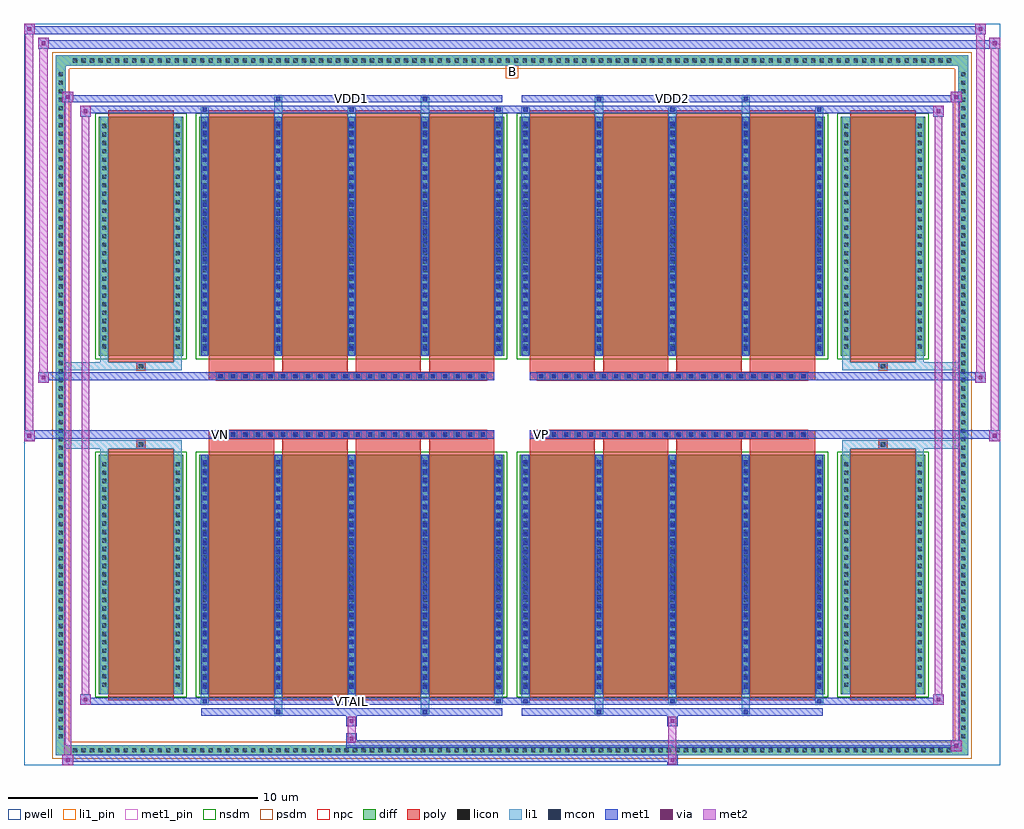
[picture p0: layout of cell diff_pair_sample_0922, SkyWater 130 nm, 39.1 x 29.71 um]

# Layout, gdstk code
import gdstk
lib = gdstk.Library(unit=1e-6, precision=5e-09)
def R(c, l, rs):  # rectangles x0, y0, x1, y1
    for r in rs: c.add(gdstk.rectangle(r[:2], r[2:], *l))
def A(c, l, x, y, w, h, nx, ny, dx, dy):  # array of equal rectangles
    R(c, l, [(x+i*dx, y+j*dy, x+i*dx+w, y+j*dy+h) for i in range(nx) for j in range(ny)])
def P(c, l, *ps):  # polygons
    for p in ps: c.add(gdstk.Polygon(p, *l))
pwell = (64, 44)
diff = (65, 20)
poly = (66, 20)
licon = (66, 44)
li1_pin = (67, 16)
li1 = (67, 20)
mcon = (67, 44)
met1_pin = (68, 16)
met1 = (68, 20)
via = (68, 44)
met2 = (69, 20)
nsdm = (93, 44)
psdm = (94, 20)
npc = (95, 20)

diff_pair_sample_0922 = lib.new_cell('diff_pair_sample_0922')
R(diff_pair_sample_0922, pwell, [(-19.55,-14.42,19.55,15.29), (-16.87,-12.61,-0.01,-0.805), (0.01,-12.61,16.87,-0.805), (-16.87,0.805,-0.01,12.61), (0.01,0.805,16.87,12.61)])
A(diff_pair_sample_0922, diff, -17.715, -14.02, 0.41, 0.41, 104, 2, 0.34, 27.63)
A(diff_pair_sample_0922, diff, -18.28, -13.465, 0.41, 0.41, 1, 79, 0, 0.34)
A(diff_pair_sample_0922, diff, 17.87, -13.465, 0.41, 0.41, 1, 79, 0, 0.34)
R(diff_pair_sample_0922, diff, [(-17.715,-14.02,17.715,-13.61), (-18.28,-13.465,-17.87,13.465), (17.87,-13.465,18.28,13.465), (-16.56,-11.565,-13.17,-1.985), (-12.53,-11.565,-0.32,-1.985), (0.32,-11.565,12.53,-1.985), (13.17,-11.565,16.56,-1.985), (-16.56,1.985,-13.17,11.565), (-12.53,1.985,-0.32,11.565), (0.32,1.985,12.53,11.565), (13.17,1.985,16.56,11.565), (-17.715,13.61,17.715,14.02)])
P(diff_pair_sample_0922, diff, [(18.28,14.02),(-18.28,14.02),(-18.28,-13.61),(-17.87,-13.61),(-17.87,13.61),(17.87,13.61),(17.87,-13.61),(-17.87,-13.61),(-18.28,-13.61),(-18.28,-14.02),(18.28,-14.02)])
A(diff_pair_sample_0922, poly, -12.14, -11.815, 2.61, 10.08, 4, 2, 2.94, 13.55)
A(diff_pair_sample_0922, poly, 0.71, -11.815, 2.61, 10.08, 4, 2, 2.94, 13.55)
A(diff_pair_sample_0922, poly, -12.14, -1.735, 2.61, 0.4, 4, 2, 2.94, 3.07)
A(diff_pair_sample_0922, poly, 0.71, -1.735, 2.61, 0.4, 4, 2, 2.94, 3.07)
A(diff_pair_sample_0922, poly, -11.84, -1.335, 0.33, 0.33, 22, 2, 0.5, 2.34)
A(diff_pair_sample_0922, poly, 1.01, -1.335, 0.33, 0.33, 22, 2, 0.5, 2.34)
R(diff_pair_sample_0922, poly, [(-16.17,-11.815,-13.56,-1.735), (13.56,-11.815,16.17,-1.735), (-15.03,-1.735,-14.7,-1.405), (-15.03,-1.735,-14.7,-1.405), (14.7,-1.735,15.03,-1.405), (14.7,-1.735,15.03,-1.405), (-12.14,-1.335,-0.71,-1.005), (0.71,-1.335,12.14,-1.005), (-12.14,1.005,-0.71,1.335), (0.71,1.005,12.14,1.335), (-15.03,1.405,-14.7,1.735), (-15.03,1.405,-14.7,1.735), (14.7,1.405,15.03,1.735), (14.7,1.405,15.03,1.735), (-16.17,1.735,-13.56,11.815), (13.56,1.735,16.17,11.815)])
A(diff_pair_sample_0922, licon, -17.595, -13.9, 0.17, 0.17, 104, 2, 0.34, 27.63)
A(diff_pair_sample_0922, licon, -18.16, -13.345, 0.17, 0.17, 1, 79, 0, 0.34)
A(diff_pair_sample_0922, licon, 17.99, -13.345, 0.17, 0.17, 1, 79, 0, 0.34)
A(diff_pair_sample_0922, licon, -16.42, -11.28, 0.17, 0.17, 1, 27, 0, 0.34)
A(diff_pair_sample_0922, licon, -13.48, -11.28, 0.17, 0.17, 1, 27, 0, 0.34)
A(diff_pair_sample_0922, licon, -12.39, -11.28, 0.17, 0.17, 5, 27, 2.94, 0.34)
A(diff_pair_sample_0922, licon, 0.46, -11.28, 0.17, 0.17, 5, 27, 2.94, 0.34)
A(diff_pair_sample_0922, licon, 13.31, -11.28, 0.17, 0.17, 1, 27, 0, 0.34)
A(diff_pair_sample_0922, licon, 16.25, -11.28, 0.17, 0.17, 1, 27, 0, 0.34)
A(diff_pair_sample_0922, licon, -11.76, -1.255, 0.17, 0.17, 22, 2, 0.5, 2.34)
A(diff_pair_sample_0922, licon, 1.09, -1.255, 0.17, 0.17, 22, 2, 0.5, 2.34)
A(diff_pair_sample_0922, licon, -16.42, 2.27, 0.17, 0.17, 1, 27, 0, 0.34)
A(diff_pair_sample_0922, licon, -13.48, 2.27, 0.17, 0.17, 1, 27, 0, 0.34)
A(diff_pair_sample_0922, licon, -12.39, 2.27, 0.17, 0.17, 5, 27, 2.94, 0.34)
A(diff_pair_sample_0922, licon, 0.46, 2.27, 0.17, 0.17, 5, 27, 2.94, 0.34)
A(diff_pair_sample_0922, licon, 13.31, 2.27, 0.17, 0.17, 1, 27, 0, 0.34)
A(diff_pair_sample_0922, licon, 16.25, 2.27, 0.17, 0.17, 1, 27, 0, 0.34)
R(diff_pair_sample_0922, licon, [(-14.95,-1.655,-14.78,-1.485), (14.78,-1.655,14.95,-1.485), (-14.95,1.485,-14.78,1.655), (14.78,1.485,14.95,1.655)])
R(diff_pair_sample_0922, li1_pin, [(-0.25,13.11,0.25,13.61)])
A(diff_pair_sample_0922, li1, -17.675, -13.98, 0.33, 0.33, 104, 2, 0.34, 27.63)
A(diff_pair_sample_0922, li1, -18.24, -13.425, 0.33, 0.33, 1, 79, 0, 0.34)
A(diff_pair_sample_0922, li1, 17.91, -13.425, 0.33, 0.33, 1, 79, 0, 0.34)
A(diff_pair_sample_0922, li1, -12.47, -11.94, 0.33, 0.375, 3, 2, 5.88, 23.505)
A(diff_pair_sample_0922, li1, -12.39, -11.94, 0.17, 0.17, 3, 2, 5.88, 23.71)
A(diff_pair_sample_0922, li1, 0.38, -11.94, 0.33, 0.375, 3, 2, 5.88, 23.505)
A(diff_pair_sample_0922, li1, 0.46, -11.94, 0.17, 0.17, 3, 2, 5.88, 23.71)
A(diff_pair_sample_0922, li1, -12.47, -11.565, 0.33, 9.58, 5, 2, 2.94, 13.55)
A(diff_pair_sample_0922, li1, 0.38, -11.565, 0.33, 9.58, 5, 2, 2.94, 13.55)
A(diff_pair_sample_0922, li1, -16.5, -11.36, 0.33, 0.33, 1, 27, 0, 0.34)
A(diff_pair_sample_0922, li1, -13.56, -11.36, 0.33, 0.33, 1, 27, 0, 0.34)
A(diff_pair_sample_0922, li1, -12.47, -11.36, 0.33, 0.33, 5, 27, 2.94, 0.34)
A(diff_pair_sample_0922, li1, -12.39, -11.36, 0.17, 0.17, 5, 26, 2.94, 0.36)
A(diff_pair_sample_0922, li1, -12.39, -11.36, 0.17, 9.17, 5, 2, 2.94, 13.55)
A(diff_pair_sample_0922, li1, 0.38, -11.36, 0.33, 0.33, 5, 27, 2.94, 0.34)
A(diff_pair_sample_0922, li1, 0.46, -11.36, 0.17, 0.17, 5, 26, 2.94, 0.36)
A(diff_pair_sample_0922, li1, 0.46, -11.36, 0.17, 9.17, 5, 2, 2.94, 13.55)
A(diff_pair_sample_0922, li1, 13.23, -11.36, 0.33, 0.33, 1, 27, 0, 0.34)
A(diff_pair_sample_0922, li1, 16.17, -11.36, 0.33, 0.33, 1, 27, 0, 0.34)
A(diff_pair_sample_0922, li1, -11.84, -1.335, 0.33, 0.33, 22, 2, 0.5, 2.34)
A(diff_pair_sample_0922, li1, 1.01, -1.335, 0.33, 0.33, 22, 2, 0.5, 2.34)
A(diff_pair_sample_0922, li1, -16.5, 2.19, 0.33, 0.33, 1, 27, 0, 0.34)
A(diff_pair_sample_0922, li1, -13.56, 2.19, 0.33, 0.33, 1, 27, 0, 0.34)
A(diff_pair_sample_0922, li1, -12.47, 2.19, 0.33, 0.33, 5, 27, 2.94, 0.34)
A(diff_pair_sample_0922, li1, -12.39, 2.19, 0.17, 0.17, 5, 26, 2.94, 0.36)
A(diff_pair_sample_0922, li1, 0.38, 2.19, 0.33, 0.33, 5, 27, 2.94, 0.34)
A(diff_pair_sample_0922, li1, 0.46, 2.19, 0.17, 0.17, 5, 26, 2.94, 0.36)
A(diff_pair_sample_0922, li1, 13.23, 2.19, 0.33, 0.33, 1, 27, 0, 0.34)
A(diff_pair_sample_0922, li1, 16.17, 2.19, 0.33, 0.33, 1, 27, 0, 0.34)
R(diff_pair_sample_0922, li1, [(-18.28,-14.02,-17.87,-13.61), (-18.28,-14.02,-17.87,-13.61), (-17.87,-14.02,17.87,-13.61), (17.87,-14.02,18.28,-13.61), (17.87,-14.02,18.28,-13.61), (-18.28,-13.61,-17.87,13.61), (17.87,-13.61,18.28,13.61), (-9.53,-12.37,-9.2,-11.565), (-9.45,-12.37,-9.28,-12.2), (-3.65,-12.37,-3.32,-11.565), (-3.57,-12.37,-3.4,-12.2), (3.32,-12.37,3.65,-11.565), (3.4,-12.37,3.57,-12.2), (9.2,-12.37,9.53,-11.565), (9.28,-12.37,9.45,-12.2), (-16.5,-11.565,-16.17,-1.985), (-13.56,-11.565,-13.23,-1.985), (13.23,-11.565,13.56,-1.985), (16.17,-11.565,16.5,-1.985), (-16.5,-1.985,-16.17,-1.405), (-13.56,-1.985,-13.23,-1.405), (13.23,-1.985,13.56,-1.405), (16.17,-1.985,16.5,-1.405), (-18.28,-1.735,-15.03,-1.405), (-16.5,-1.735,-15.03,-1.405), (-15.03,-1.735,-14.7,-1.405), (-14.7,-1.735,-13.23,-1.405), (13.23,-1.735,14.7,-1.405), (14.7,-1.735,15.03,-1.405), (14.7,-1.735,18.28,-1.405), (15.03,-1.735,16.5,-1.405), (-18.28,1.405,-15.03,1.735), (-16.5,1.405,-15.03,1.735), (-16.5,1.405,-16.17,1.985), (-15.03,1.405,-14.7,1.735), (-14.7,1.405,-13.23,1.735), (-13.56,1.405,-13.23,1.985), (13.23,1.405,14.7,1.735), (13.23,1.405,13.56,1.985), (14.7,1.405,15.03,1.735), (14.7,1.405,18.28,1.735), (15.03,1.405,16.5,1.735), (16.17,1.405,16.5,1.985), (-16.5,1.985,-16.17,11.565), (-13.56,1.985,-13.23,11.565), (13.23,1.985,13.56,11.565), (16.17,1.985,16.5,11.565), (-9.53,11.565,-9.2,12.37), (-3.65,11.565,-3.32,12.37), (3.32,11.565,3.65,12.37), (9.2,11.565,9.53,12.37), (-9.45,12.2,-9.28,12.37), (-3.57,12.2,-3.4,12.37), (3.4,12.2,3.57,12.37), (9.28,12.2,9.45,12.37), (-18.28,13.61,-17.87,14.02), (-18.28,13.61,-17.87,14.02), (-17.87,13.61,17.87,14.02), (17.87,13.61,18.28,14.02), (17.87,13.61,18.28,14.02)])
A(diff_pair_sample_0922, mcon, -12.39, -11.94, 0.17, 0.17, 3, 2, 5.88, 23.71)
A(diff_pair_sample_0922, mcon, 0.46, -11.94, 0.17, 0.17, 3, 2, 5.88, 23.71)
A(diff_pair_sample_0922, mcon, -12.39, -11.36, 0.17, 0.17, 5, 26, 2.94, 0.36)
A(diff_pair_sample_0922, mcon, 0.46, -11.36, 0.17, 0.17, 5, 26, 2.94, 0.36)
A(diff_pair_sample_0922, mcon, -11.76, -1.255, 0.17, 0.17, 22, 2, 0.5, 2.34)
A(diff_pair_sample_0922, mcon, 1.09, -1.255, 0.17, 0.17, 22, 2, 0.5, 2.34)
A(diff_pair_sample_0922, mcon, -12.39, 2.19, 0.17, 0.17, 5, 26, 2.94, 0.36)
A(diff_pair_sample_0922, mcon, 0.46, 2.19, 0.17, 0.17, 5, 26, 2.94, 0.36)
R(diff_pair_sample_0922, mcon, [(-9.45,-12.37,-9.28,-12.2), (-3.57,-12.37,-3.4,-12.2), (3.4,-12.37,3.57,-12.2), (9.28,-12.37,9.45,-12.2), (-9.45,12.2,-9.28,12.37), (-3.57,12.2,-3.4,12.37), (3.4,12.2,3.57,12.37), (9.28,12.2,9.45,12.37)])
R(diff_pair_sample_0922, met1_pin, [(-6.56,-11.98,-6.29,-11.71), (-11.81,-1.295,-11.54,-1.025), (1.04,-1.295,1.31,-1.025), (-6.56,12.16,-6.29,12.43), (6.29,12.16,6.56,12.43)])
A(diff_pair_sample_0922, met1, -12.45, -12, 0.29, 0.29, 3, 2, 5.88, 23.71)
A(diff_pair_sample_0922, met1, 0.4, -12, 0.29, 0.29, 3, 2, 5.88, 23.71)
A(diff_pair_sample_0922, met1, -12.45, -11.565, 0.29, 9.58, 5, 2, 2.94, 13.55)
A(diff_pair_sample_0922, met1, 0.4, -11.565, 0.29, 9.58, 5, 2, 2.94, 13.55)
A(diff_pair_sample_0922, met1, -12.45, -11.42, 0.29, 0.29, 5, 26, 2.94, 0.36)
A(diff_pair_sample_0922, met1, 0.4, -11.42, 0.29, 0.29, 5, 26, 2.94, 0.36)
A(diff_pair_sample_0922, met1, -11.82, -1.315, 0.29, 0.29, 22, 2, 0.5, 2.34)
A(diff_pair_sample_0922, met1, 1.03, -1.315, 0.29, 0.29, 22, 2, 0.5, 2.34)
A(diff_pair_sample_0922, met1, -12.45, 2.13, 0.29, 0.29, 5, 26, 2.94, 0.36)
A(diff_pair_sample_0922, met1, 0.4, 2.13, 0.29, 0.29, 5, 26, 2.94, 0.36)
R(diff_pair_sample_0922, met1, [(-18.01,-14.42,-17.58,-13.99), (6.21,-14.42,6.64,-13.99), (-18.01,-14.28,6.64,-13.99), (17.58,-13.85,18.01,-13.42), (-6.64,-13.71,18.01,-13.42), (-6.64,-13.57,-6.21,-13.14), (-6.64,-12.86,-6.21,-12.43), (6.21,-12.86,6.64,-12.43), (-12.45,-12.43,-0.4,-12.14), (-9.51,-12.43,-9.22,-12.14), (-3.63,-12.43,-3.34,-12.14), (0.4,-12.43,12.45,-12.14), (3.34,-12.43,3.63,-12.14), (9.22,-12.43,9.51,-12.14), (-17.3,-12,-16.87,-11.57), (-17.3,-12,-12.45,-11.71), (-12.45,-12,-0.4,-11.71), (-0.4,-12,0.4,-11.71), (0.4,-12,12.45,-11.71), (12.45,-12,17.3,-11.71), (16.87,-12,17.3,-11.57), (-19.55,-1.435,-19.12,-1.005), (19.12,-1.435,19.55,-1.005), (-19.55,-1.335,-0.71,-1.005), (-12.14,-1.335,-0.71,-1.005), (0.71,-1.335,12.14,-1.005), (0.71,-1.335,19.55,-1.005), (-18.98,0.905,-18.55,1.335), (18.55,0.905,18.98,1.335), (-18.98,1.005,-12.14,1.335), (-12.14,1.005,-0.71,1.335), (0.71,1.005,12.14,1.335), (12.14,1.005,18.98,1.335), (-17.3,11.57,-16.87,12), (16.87,11.57,17.3,12), (-17.3,11.71,-12.45,12), (-12.45,11.71,-0.4,12), (-0.4,11.71,0.4,12), (0.4,11.71,12.45,12), (12.45,11.71,17.3,12), (-18.01,12.14,-17.58,12.57), (-18.01,12.14,-12.45,12.43), (-12.45,12.14,-0.4,12.43), (-9.51,12.14,-9.22,12.43), (-3.63,12.14,-3.34,12.43), (0.4,12.14,12.45,12.43), (3.34,12.14,3.63,12.43), (9.22,12.14,9.51,12.43), (12.45,12.14,18.01,12.43), (17.58,12.14,18.01,12.57), (-18.98,14.29,-18.55,14.72), (-18.98,14.29,-16.87,14.62), (-16.87,14.29,16.87,14.62), (16.87,14.29,19.55,14.62), (19.12,14.29,19.55,14.72), (-19.55,14.86,-19.12,15.29), (-19.55,14.86,-16.87,15.19), (-16.87,14.86,16.87,15.19), (16.87,14.86,18.98,15.19), (18.55,14.86,18.98,15.29)])
R(diff_pair_sample_0922, via, [(-17.87,-14.28,-17.72,-14.13), (6.35,-14.28,6.5,-14.13), (17.72,-13.71,17.87,-13.56), (-6.5,-13.43,-6.35,-13.28), (-6.5,-12.72,-6.35,-12.57), (6.35,-12.72,6.5,-12.57), (-17.16,-11.86,-17.01,-11.71), (17.01,-11.86,17.16,-11.71), (-19.41,-1.295,-19.26,-1.145), (19.26,-1.295,19.41,-1.145), (-18.84,1.045,-18.69,1.195), (18.69,1.045,18.84,1.195), (-17.16,11.71,-17.01,11.86), (17.01,11.71,17.16,11.86), (-17.87,12.28,-17.72,12.43), (17.72,12.28,17.87,12.43), (-18.84,14.43,-18.69,14.58), (19.26,14.43,19.41,14.58), (-19.41,15,-19.26,15.15), (18.69,15,18.84,15.15)])
R(diff_pair_sample_0922, met2, [(-18.01,-14.42,-17.58,-13.99), (-17.94,-14.42,-17.65,12.57), (-17.65,-14.42,-17.58,-13.99), (-17.96,-14.37,-17.63,-14.04), (6.26,-14.37,6.59,-14.04), (6.26,-14.04,6.59,-12.81), (17.58,-13.85,18.01,-13.42), (17.65,-13.85,17.94,12.57), (17.94,-13.85,18.01,-13.42), (17.63,-13.8,17.96,-13.47), (-6.59,-13.52,-6.26,-13.19), (-6.59,-13.19,-6.26,-12.81), (-6.59,-12.81,-6.26,-12.48), (6.26,-12.81,6.59,-12.48), (-17.3,-12,-16.87,-11.57), (-17.23,-12,-16.94,12), (-16.94,-12,-16.87,-11.57), (16.87,-12,17.3,-11.57), (16.94,-12,17.23,12), (17.23,-12,17.3,-11.57), (-17.25,-11.95,-16.92,-11.62), (16.92,-11.95,17.25,-11.62), (-19.55,-1.435,-19.12,-1.005), (-19.5,-1.435,-19.17,15.29), (-19.17,-1.435,-19.12,-1.005), (19.12,-1.435,19.55,-1.005), (19.17,-1.435,19.5,14.72), (19.5,-1.435,19.55,-1.005), (-19.5,-1.385,-19.17,-1.055), (19.17,-1.385,19.5,-1.055), (-18.98,0.905,-18.55,1.335), (-18.93,0.905,-18.6,14.72), (-18.6,0.905,-18.55,1.335), (18.55,0.905,18.98,1.335), (18.6,0.905,18.93,15.29), (18.93,0.905,18.98,1.335), (-18.93,0.955,-18.6,1.285), (18.6,0.955,18.93,1.285), (-17.3,11.57,-16.87,12), (-16.94,11.57,-16.87,12), (16.87,11.57,17.3,12), (17.23,11.57,17.3,12), (-17.25,11.62,-16.92,11.95), (16.92,11.62,17.25,11.95), (-18.01,12.14,-17.58,12.57), (-17.65,12.14,-17.58,12.57), (17.58,12.14,18.01,12.57), (17.94,12.14,18.01,12.57), (-17.96,12.19,-17.63,12.52), (17.63,12.19,17.96,12.52), (-18.98,14.29,-18.55,14.72), (-18.6,14.29,-18.55,14.72), (19.12,14.29,19.55,14.72), (19.5,14.29,19.55,14.72), (-18.93,14.34,-18.6,14.67), (19.17,14.34,19.5,14.67), (-19.55,14.86,-19.12,15.29), (-19.17,14.86,-19.12,15.29), (18.55,14.86,18.98,15.29), (18.93,14.86,18.98,15.29), (-19.5,14.91,-19.17,15.24), (18.6,14.91,18.93,15.24)])
R(diff_pair_sample_0922, nsdm, [(-16.69,-11.695,-13.04,-1.855), (-12.66,-11.695,-0.19,-1.855), (0.19,-11.695,12.66,-1.855), (13.04,-11.695,16.69,-1.855), (-16.69,1.855,-13.04,11.695), (-12.66,1.855,-0.19,11.695), (0.19,1.855,12.66,11.695), (13.04,1.855,16.69,11.695)])
P(diff_pair_sample_0922, psdm, [(18.41,14.15),(-18.41,14.15),(-18.41,-13.48),(-17.74,-13.48),(-17.74,13.48),(17.74,13.48),(17.74,-13.48),(-17.74,-13.48),(-18.41,-13.48),(-18.41,-14.15),(18.41,-14.15)])
A(diff_pair_sample_0922, npc, -11.86, -1.355, 0.37, 0.37, 22, 2, 0.5, 2.34)
A(diff_pair_sample_0922, npc, 0.99, -1.355, 0.37, 0.37, 22, 2, 0.5, 2.34)
R(diff_pair_sample_0922, npc, [(-15.05,-1.755,-14.68,-1.385), (14.68,-1.755,15.05,-1.385), (-11.86,-1.355,-10.99,-0.985), (-11.86,-1.355,-10.99,-0.985), (-11.36,-1.355,-10.49,-0.985), (-11.36,-1.355,-10.49,-0.985), (-10.86,-1.355,-9.99,-0.985), (-10.86,-1.355,-9.99,-0.985), (-10.36,-1.355,-9.49,-0.985), (-10.36,-1.355,-9.49,-0.985), (-9.86,-1.355,-8.99,-0.985), (-9.86,-1.355,-8.99,-0.985), (-9.36,-1.355,-8.49,-0.985), (-9.36,-1.355,-8.49,-0.985), (-8.86,-1.355,-7.99,-0.985), (-8.86,-1.355,-7.99,-0.985), (-8.36,-1.355,-7.49,-0.985), (-8.36,-1.355,-7.49,-0.985), (-7.86,-1.355,-6.99,-0.985), (-7.86,-1.355,-6.99,-0.985), (-7.36,-1.355,-6.49,-0.985), (-7.36,-1.355,-6.49,-0.985), (-6.86,-1.355,-5.99,-0.985), (-6.86,-1.355,-5.99,-0.985), (-6.36,-1.355,-5.49,-0.985), (-6.36,-1.355,-5.49,-0.985), (-5.86,-1.355,-4.99,-0.985), (-5.86,-1.355,-4.99,-0.985), (-5.36,-1.355,-4.49,-0.985), (-5.36,-1.355,-4.49,-0.985), (-4.86,-1.355,-3.99,-0.985), (-4.86,-1.355,-3.99,-0.985), (-4.36,-1.355,-3.49,-0.985), (-4.36,-1.355,-3.49,-0.985), (-3.86,-1.355,-2.99,-0.985), (-3.86,-1.355,-2.99,-0.985), (-3.36,-1.355,-2.49,-0.985), (-3.36,-1.355,-2.49,-0.985), (-2.86,-1.355,-1.99,-0.985), (-2.86,-1.355,-1.99,-0.985), (-2.36,-1.355,-1.49,-0.985), (-2.36,-1.355,-1.49,-0.985), (-1.86,-1.355,-0.99,-0.985), (-1.86,-1.355,-0.99,-0.985), (0.99,-1.355,1.86,-0.985), (0.99,-1.355,1.86,-0.985), (1.49,-1.355,2.36,-0.985), (1.49,-1.355,2.36,-0.985), (1.99,-1.355,2.86,-0.985), (1.99,-1.355,2.86,-0.985), (2.49,-1.355,3.36,-0.985), (2.49,-1.355,3.36,-0.985), (2.99,-1.355,3.86,-0.985), (2.99,-1.355,3.86,-0.985), (3.49,-1.355,4.36,-0.985), (3.49,-1.355,4.36,-0.985), (3.99,-1.355,4.86,-0.985), (3.99,-1.355,4.86,-0.985), (4.49,-1.355,5.36,-0.985), (4.49,-1.355,5.36,-0.985), (4.99,-1.355,5.86,-0.985), (4.99,-1.355,5.86,-0.985), (5.49,-1.355,6.36,-0.985), (5.49,-1.355,6.36,-0.985), (5.99,-1.355,6.86,-0.985), (5.99,-1.355,6.86,-0.985), (6.49,-1.355,7.36,-0.985), (6.49,-1.355,7.36,-0.985), (6.99,-1.355,7.86,-0.985), (6.99,-1.355,7.86,-0.985), (7.49,-1.355,8.36,-0.985), (7.49,-1.355,8.36,-0.985), (7.99,-1.355,8.86,-0.985), (7.99,-1.355,8.86,-0.985), (8.49,-1.355,9.36,-0.985), (8.49,-1.355,9.36,-0.985), (8.99,-1.355,9.86,-0.985), (8.99,-1.355,9.86,-0.985), (9.49,-1.355,10.36,-0.985), (9.49,-1.355,10.36,-0.985), (9.99,-1.355,10.86,-0.985), (9.99,-1.355,10.86,-0.985), (10.49,-1.355,11.36,-0.985), (10.49,-1.355,11.36,-0.985), (10.99,-1.355,11.86,-0.985), (10.99,-1.355,11.86,-0.985), (-11.86,0.985,-10.99,1.355), (-11.86,0.985,-10.99,1.355), (-11.36,0.985,-10.49,1.355), (-11.36,0.985,-10.49,1.355), (-10.86,0.985,-9.99,1.355), (-10.86,0.985,-9.99,1.355), (-10.36,0.985,-9.49,1.355), (-10.36,0.985,-9.49,1.355), (-9.86,0.985,-8.99,1.355), (-9.86,0.985,-8.99,1.355), (-9.36,0.985,-8.49,1.355), (-9.36,0.985,-8.49,1.355), (-8.86,0.985,-7.99,1.355), (-8.86,0.985,-7.99,1.355), (-8.36,0.985,-7.49,1.355), (-8.36,0.985,-7.49,1.355), (-7.86,0.985,-6.99,1.355), (-7.86,0.985,-6.99,1.355), (-7.36,0.985,-6.49,1.355), (-7.36,0.985,-6.49,1.355), (-6.86,0.985,-5.99,1.355), (-6.86,0.985,-5.99,1.355), (-6.36,0.985,-5.49,1.355), (-6.36,0.985,-5.49,1.355), (-5.86,0.985,-4.99,1.355), (-5.86,0.985,-4.99,1.355), (-5.36,0.985,-4.49,1.355), (-5.36,0.985,-4.49,1.355), (-4.86,0.985,-3.99,1.355), (-4.86,0.985,-3.99,1.355), (-4.36,0.985,-3.49,1.355), (-4.36,0.985,-3.49,1.355), (-3.86,0.985,-2.99,1.355), (-3.86,0.985,-2.99,1.355), (-3.36,0.985,-2.49,1.355), (-3.36,0.985,-2.49,1.355), (-2.86,0.985,-1.99,1.355), (-2.86,0.985,-1.99,1.355), (-2.36,0.985,-1.49,1.355), (-2.36,0.985,-1.49,1.355), (-1.86,0.985,-0.99,1.355), (-1.86,0.985,-0.99,1.355), (0.99,0.985,1.86,1.355), (0.99,0.985,1.86,1.355), (1.49,0.985,2.36,1.355), (1.49,0.985,2.36,1.355), (1.99,0.985,2.86,1.355), (1.99,0.985,2.86,1.355), (2.49,0.985,3.36,1.355), (2.49,0.985,3.36,1.355), (2.99,0.985,3.86,1.355), (2.99,0.985,3.86,1.355), (3.49,0.985,4.36,1.355), (3.49,0.985,4.36,1.355), (3.99,0.985,4.86,1.355), (3.99,0.985,4.86,1.355), (4.49,0.985,5.36,1.355), (4.49,0.985,5.36,1.355), (4.99,0.985,5.86,1.355), (4.99,0.985,5.86,1.355), (5.49,0.985,6.36,1.355), (5.49,0.985,6.36,1.355), (5.99,0.985,6.86,1.355), (5.99,0.985,6.86,1.355), (6.49,0.985,7.36,1.355), (6.49,0.985,7.36,1.355), (6.99,0.985,7.86,1.355), (6.99,0.985,7.86,1.355), (7.49,0.985,8.36,1.355), (7.49,0.985,8.36,1.355), (7.99,0.985,8.86,1.355), (7.99,0.985,8.86,1.355), (8.49,0.985,9.36,1.355), (8.49,0.985,9.36,1.355), (8.99,0.985,9.86,1.355), (8.99,0.985,9.86,1.355), (9.49,0.985,10.36,1.355), (9.49,0.985,10.36,1.355), (9.99,0.985,10.86,1.355), (9.99,0.985,10.86,1.355), (10.49,0.985,11.36,1.355), (10.49,0.985,11.36,1.355), (10.99,0.985,11.86,1.355), (10.99,0.985,11.86,1.355), (-15.05,1.385,-14.68,1.755), (14.68,1.385,15.05,1.755)])
diff_pair_sample_0922.add(gdstk.Label('VTAIL', (-6.425,-11.845), layer=68, texttype=5))
diff_pair_sample_0922.add(gdstk.Label('VN', (-11.675,-1.16), layer=68, texttype=5))
diff_pair_sample_0922.add(gdstk.Label('VP', (1.175,-1.16), layer=68, texttype=5))
diff_pair_sample_0922.add(gdstk.Label('B', (0,13.36), layer=67, texttype=5))
diff_pair_sample_0922.add(gdstk.Label('VDD2', (6.425,12.295), layer=68, texttype=5))
diff_pair_sample_0922.add(gdstk.Label('VDD1', (-6.425,12.295), layer=68, texttype=5))

lib.write_gds('diff_pair_sample_0922.gds')
